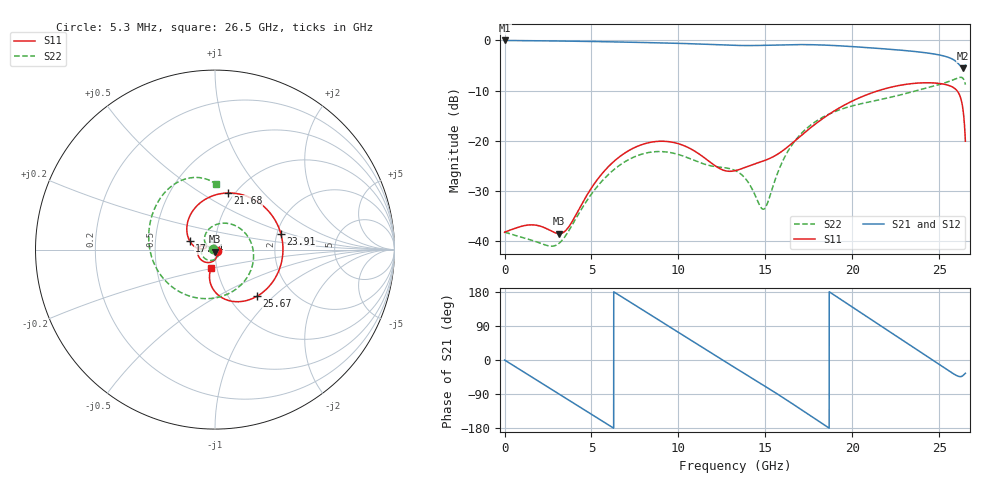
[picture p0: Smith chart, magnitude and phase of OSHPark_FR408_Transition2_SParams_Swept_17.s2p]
! TOUCHSTONE file generated by CST MICROWAVE STUDIO
! Date and time: Tue Jan  7 09:43:27 2020
! Project name: OSHPark_FR408_Transition2.cst
! Parameters = {GND_Plane_XMax=12; Cap_Disk_XOffset=0; Cap_Disk2_YCenter=-1.03; Cap_Disk_YCenter=1.03; Cap_Disk_XCenter=7.39; Cap_Disk_Radius=0.5; BottomSupport_Left_YMax=4.76; BottomSupport_Left_YMin=3.74; BottomSupport_Right_YMax=-3.74; BottomSupport_Right_YMin=-4.76; BottomSupport_XMax=11.64; Bot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
! Header version: 2015
! Port assignment regex: !\s*Touchstone port\s*([0-9]+)\s*=\s*CST MWS port\s*([0-9]+)\s*\(\"(.*)\"\)(\s*mode\s*([0-9]+))?.*
! Touchstone port assignment:
! Touchstone port 1 = CST MWS port 1 ("")
! Touchstone port 2 = CST MWS port 2 ("")
# GHz S MA R 50
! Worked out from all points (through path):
!   5000 points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, 5.3 MHz to 26.5 GHz, reference 50 ohm
!   highest |S21| = 0.00 dB at 5.3 MHz (marker M1); lowest = -5.6 dB at 26.37 GHz (marker M2)
!   group delay of S21, straight-line fit = 81.2 ps
!   lowest |S11| = -38.5 dB at 3.143 GHz (marker M3), VSWR 1.02, Z = 50 - j1.19 ohm
!   |S11| at or under -10 dB: start of sweep to 21.51 GHz; 26.02 GHz to end of sweep
!   |S22| runs from -41.0 to -7.3 dB; largest |S21 - S12| = 0
!   S11 on the Smith chart (normalised r, x): 5.3 MHz: 1.02, -0.01; 17.94 GHz: 0.75, +0.08; 21.68 GHz: 0.93, +0.65; 23.91 GHz: 2.10, +0.43; 25.67 GHz: 1.34, -0.79; 26.5 GHz: 0.95, -0.19
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0.0053  0.01226 -24.4  0.9999 -0.2  0.9999 -0.2  0.01239 154.3
1.378  0.01449 -78.4  0.9953 -39.5  0.9953 -39.5  0.01046 136.3
3.1429  0.01189 -90.7  0.9874 -90.0  0.9874 -90.0  0.009533 53.4
4.4255  0.02312 -66.3  0.9804 -126.8  0.9804 -126.8  0.02085 -21.5
5.5226  0.04514 -79.9  0.9733 -158.3  0.9733 -158.3  0.03826 -62.1
6.5455  0.06788 -101.7  0.9659 172.4  0.9659 172.4  0.05589 -94.2
8.8404  0.0988 -155.6  0.9469 106.4  0.9469 106.4  0.07811 -159.3
10.0329  0.0932 178.6  0.9354 72.0  0.9354 72.0  0.07271 171.7
11.3314  0.071 158.6  0.9198 34.5  0.9198 34.5  0.05982 149.7
13.2553  0.05035 168.9  0.8933 -20.3  0.8933 -20.3  0.05061 121.1
14.9248  0.06329 175.1  0.8942 -67.4  0.8942 -67.4  0.02091 132.2
16.271  0.08668 177.1  0.9074 -107.0  0.9074 -107.0  0.07739 139.0
17.6702  0.138 164.8  0.907 -149.4  0.907 -149.4  0.1462 81.0
17.9352  0.1498 160.9  0.9048 -157.5  0.9048 -157.5  0.1575 69.3
19.5464  0.2272 129.9  0.8785 153.4  0.8785 153.4  0.2115 0.7
20.6541  0.2799 103.9  0.8533 119.8  0.8533 119.8  0.2373 -41.6
21.6823  0.3231 77.5  0.8285 88.9  0.8285 88.9  0.2592 -76.5
22.0851  0.3376 66.6  0.8185 76.7  0.8185 76.7  0.2686 -89.2
23.9136  0.3774 13.5  0.7651 21.3  0.7651 21.3  0.3235 -145.2
25.6679  0.3496 -48.2  0.6628 -32.2  0.6628 -32.2  0.3968 153.3
26.3728  0.1984 -96.4  0.5269 -40.6  0.5269 -40.6  0.4167 105.3
26.5  0.09912 -100.7  0.5669 -35.0  0.5669 -35.0  0.3625 88.8
